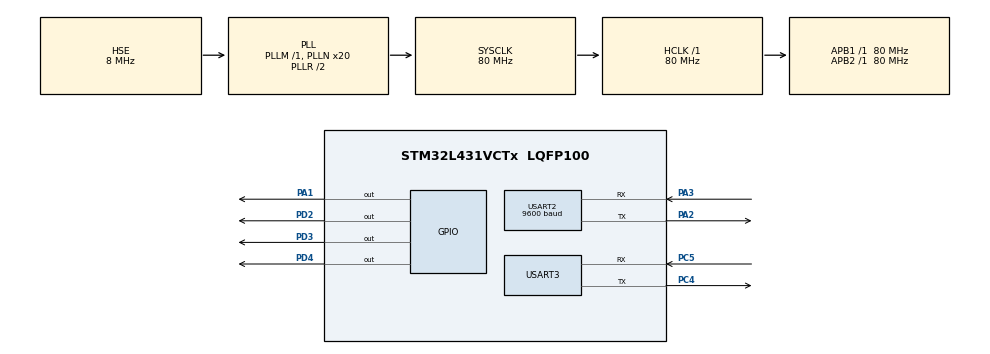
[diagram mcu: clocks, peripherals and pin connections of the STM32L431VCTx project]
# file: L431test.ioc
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Dma.Request0=USART2_RX
Dma.Request1=USART2_TX
Dma.USART2_RX.0.Direction=DMA_PERIPH_TO_MEMORY
Dma.USART2_RX.0.Instance=DMA1_Channel6
Dma.USART2_RX.0.MemDataAlignment=DMA_MDATAALIGN_BYTE
Dma.USART2_RX.0.MemInc=DMA_MINC_ENABLE
Dma.USART2_RX.0.Mode=DMA_NORMAL
Dma.USART2_RX.0.PeriphDataAlignment=DMA_PDATAALIGN_BYTE
Dma.USART2_RX.0.PeriphInc=DMA_PINC_DISABLE
Dma.USART2_RX.0.Priority=DMA_PRIORITY_MEDIUM
Dma.USART2_TX.1.Direction=DMA_MEMORY_TO_PERIPH
Dma.USART2_TX.1.Instance=DMA1_Channel7
Dma.USART2_TX.1.MemDataAlignment=DMA_MDATAALIGN_BYTE
Dma.USART2_TX.1.MemInc=DMA_MINC_ENABLE
Dma.USART2_TX.1.Mode=DMA_NORMAL
Dma.USART2_TX.1.PeriphDataAlignment=DMA_PDATAALIGN_BYTE
Dma.USART2_TX.1.PeriphInc=DMA_PINC_DISABLE
Dma.USART2_TX.1.Priority=DMA_PRIORITY_MEDIUM
Mcu.Family=STM32L4
Mcu.Name=STM32L431VCTx
Mcu.Package=LQFP100
NVIC.DMA1_Channel6_IRQn=true\:0\:0\:false\:false\:true\:false\:true
NVIC.DMA1_Channel7_IRQn=true\:0\:0\:false\:false\:true\:false\:true
NVIC.PriorityGroup=NVIC_PRIORITYGROUP_4
NVIC.USART2_IRQn=true\:0\:0\:false\:false\:true\:true\:true
PA1.Signal=GPIO_Output
PA13\ (JTMS-SWDIO).Mode=Serial_Wire
PA13\ (JTMS-SWDIO).Signal=SYS_JTMS-SWDIO
PA14\ (JTCK-SWCLK).Mode=Serial_Wire
PA14\ (JTCK-SWCLK).Signal=SYS_JTCK-SWCLK
PA2.Mode=Asynchronous
PA2.Signal=USART2_TX
PA3.Mode=Asynchronous
PA3.Signal=USART2_RX
PC4.Mode=Asynchronous
PC4.Signal=USART3_TX
PC5.Mode=Asynchronous
PC5.Signal=USART3_RX
PD2.Signal=GPIO_Output
PD3.Signal=GPIO_Output
PD4.Signal=GPIO_Output
PH0-OSC_IN\ (PH0).Mode=HSE-External-Oscillator
PH0-OSC_IN\ (PH0).Signal=RCC_OSC_IN
PH1-OSC_OUT\ (PH1).Mode=HSE-External-Oscillator
PH1-OSC_OUT\ (PH1).Signal=RCC_OSC_OUT
ProjectManager.HeapSize=0x200
ProjectManager.StackSize=0x400
ProjectManager.TargetToolchain=MDK-ARM V5.27
RCC.ADCFreq_Value=32000000
RCC.AHBFreq_Value=80000000
RCC.APB1Freq_Value=80000000
RCC.APB1TimFreq_Value=80000000
RCC.APB2Freq_Value=80000000
RCC.APB2TimFreq_Value=80000000
RCC.CortexFreq_Value=80000000
RCC.HCLKFreq_Value=80000000
RCC.HSE_VALUE=8000000
RCC.HSI48_VALUE=48000000
RCC.HSI_VALUE=16000000
RCC.LSE_VALUE=32768
RCC.MSI_VALUE=4000000
RCC.PLLN=20
RCC.PLLSourceVirtual=RCC_PLLSOURCE_HSE
RCC.SYSCLKFreq_VALUE=80000000
RCC.SYSCLKSource=RCC_SYSCLKSOURCE_PLLCLK
RCC.VCOOutputFreq_Value=160000000
USART2.BaudRate=9600
USART2.VirtualMode-Asynchronous=VM_ASYNC
USART3.VirtualMode-Asynchronous=VM_ASYNC
board=custom

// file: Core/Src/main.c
/* USER CODE BEGIN Header */
/**
  ******************************************************************************
  * @file           : main.c
  * @brief          : Main program body
  ******************************************************************************
  * @attention
  *
  * <h2><center>&copy; Copyright (c) 2023 STMicroelectronics.
  * All rights reserved.</center></h2>
  *
  * This software component is licensed by ST under BSD 3-Clause license,
  * the "License"; You may not use this file except in compliance with the
  * License. You may obtain a copy of the License at:
  *                        opensource.org/licenses/BSD-3-Clause
  *
  ******************************************************************************
  */
/* USER CODE END Header */
#include "main.h"
#include "stdio.h"
/* USER CODE BEGIN Includes */
#include "string.h"
#include "DHT11.h"
/* USER CODE END Includes */

/* USER CODE BEGIN PTD */
float temp_f;
float humidity_f = 0;
int	num=500;
char D_a[100];               // 拼接字符串
char D_b[100];
const char* Data_Head = "AT+QMTPUB=0,0,0,0,\"mqhome\",";				//发布消息
//{\"temp\":%.2f,\"humi\":%.2f}
const char* Data_t = "{\"temp\":";
const char* Data_h = ",\"humi\":";
const char* Data_tail = "}";
/* USER CODE END PTD */

UART_HandleTypeDef huart2;
UART_HandleTypeDef huart3;
DMA_HandleTypeDef hdma_usart2_rx;
DMA_HandleTypeDef hdma_usart2_tx;

void SystemClock_Config(void);
static void MX_GPIO_Init(void);
static void MX_DMA_Init(void);
static void MX_USART2_UART_Init(void);
static void MX_USART3_UART_Init(void);

/* USER CODE BEGIN 0 */
huart2_rx_struct huart2_rx_struct_t;

/*******************************************************************************
* 名    称：get_temp_Humidity
* 功    能：获取温度函数
* 参数说明：无
* 返 回 值：无
* 说    明：无
* 调用方法：外部函数
*******************************************************************************/
void get_temp_Humidity(void)
{
    float f_buffer_temp = 0;
    float f_buffer_humi = 0;
		HAL_UART_Transmit(&huart3,"hum-temp-data get-------\n",28,20);
    /****************************** code start 3 ******************************/
    if(DHT11_Read_Data(&f_buffer_temp, &f_buffer_humi) == 0)    //读取温湿度值
    {
        if((f_buffer_temp <= 50) && (f_buffer_temp > 0))    //检测温度是否在范围内
        {
            temp_f = f_buffer_temp; //将温度值赋给全局变量temp_f
//					printf("temp_f=%.2f \n",temp_f);
            /*将温度值赋给*HomeView.Temp,用于TFT屏显示*/
//            snprintf(buffer, 5, "%2.1f", temp_f);
//            /*将温度值拷贝到上传华为物联网平台的结构体中，用于上传给华为物联网平台*/
//            memcpy(g_pltSendData.Temperature, HomeView.Temp, 5);
        }
        if((f_buffer_humi <= 100) && (f_buffer_humi > 0))   //获取湿度值，可省略
        {
            humidity_f = f_buffer_humi;
//            snprintf(buffer, 5, "%2.1f", humidity_f);
//					printf("humidity_f=%.2f \n",humidity_f);
        }
    }
    /******************************* code end 3 *******************************/
}

void send_data(void)
{

	  sprintf((char*)D_b,"%s%.2f%s%.2f%s",
												Data_t,temp_f,Data_h,humidity_f,Data_tail);
					//计算数据长度拼接到M_a
		sprintf((char*)D_a,"%s%d\r\n",Data_Head,strlen(D_b));
		printf("D-A=%s",D_a);
		printf("D-B=%s",D_b);
		HAL_UART_Transmit(&huart2, (unsigned char *)D_a, strlen(D_a), 500);
		HAL_Delay(1000);
//		HAL_UART_Transmit(&huart3,"send temp\n",11,20);
//		while(strstr((char *)huart2_rx_struct_t.uart_rx_buf, ">") == NULL) //收到 > 回复开始发送数据
// 		{
//			memset(huart2_rx_struct_t.uart_rx_buf,0x00,100);//清空接收缓冲区数组  //清空接受缓冲区
			HAL_UART_Transmit(&huart2, (unsigned char *)D_b, strlen(D_b), 300);
//		}
//		else{
//		HAL_UART_Transmit(&huart3,"send error\n",11,20);
//		}
		memset(D_a,0x00,100);//清空
		memset(D_b,0x00,100);//清空
}

/* USER CODE END 0 */

int main(void)
{

  /* MCU Configuration--------------------------------------------------------*/

  /* Reset of all peripherals, Initializes the Flash interface and the Systick. */
  HAL_Init();

  /* Configure the system clock */
  SystemClock_Config();

  /* Initialize all configured peripherals */
  MX_GPIO_Init();
	DHT_Init();								//DHT11 初始化
  MX_DMA_Init();
  MX_USART2_UART_Init();
  MX_USART3_UART_Init();
  /* USER CODE BEGIN 2 */
	HAL_UART_Receive_DMA(&huart2,huart2_rx_struct_t.uart_rx_buf, UART_RX_LEN);         // 启动DMA接收
	__HAL_UART_ENABLE_IT(&huart2, UART_IT_IDLE);                                      // 使能空闲中断
	 HAL_GPIO_WritePin(GPIOA, GPIO_PIN_1, GPIO_PIN_RESET);  //引脚写入
	 HAL_UART_Transmit(&huart3,"delay10s\r\n",8,20);
	HAL_Delay(10000);
	memset(huart2_rx_struct_t.uart_rx_buf,0,100);//清空

  /* USER CODE END 2 */

  /* Infinite loop */
  while (1)
  {

    /* USER CODE BEGIN 3 */

				HAL_UART_Transmit(&huart3,"AT+CSQ\r\n",8,20);
//			HAL_Delay(1000);

//			if(strstr((char*)huart2_rx_struct_t.uart_rx_buf,"OPEN")!=NULL)
//				{
//					HAL_UART_Transmit(&huart2,"AT-error\r\n",7,10);
////					HAL_GPIO_WritePin(GPIOC,GPIO_PIN_13,GPIO_PIN_SET);
////					HAL_Delay(1000);
//				}
//				else if(strstr((char*)huart2_rx_struct_t.uart_rx_buf,"CLOSE")!=NULL)
//					{
////									HAL_GPIO_WritePin(GPIOC,GPIO_PIN_13,GPIO_PIN_RESET);
//										HAL_UART_Transmit(&huart2,"AT\r\n",4,10);
////									HAL_Delay(1000);
//
//					}
			memset(huart2_rx_struct_t.uart_rx_buf,0x00,100);//清空
			HAL_Delay(100);
		 HAL_UART_Transmit(&huart2, (unsigned char *)"AT\r\n", 4, 300);
		 HAL_Delay(100);
		 while(strstr((char *)huart2_rx_struct_t.uart_rx_buf, "OK") == NULL)
		 {
			 memset(huart2_rx_struct_t.uart_rx_buf,0x00,100);//清空
		   HAL_Delay(1000);
			  HAL_UART_Transmit(&huart3,"AT-error\r\n",10,10);
			  HAL_UART_Transmit(&huart2, (unsigned char *)"AT\r\n", 4, 300);
				HAL_Delay(100);
				if(strstr((char *)huart2_rx_struct_t.uart_rx_buf, "OK") != NULL)
				{
					break ;
				}
		 }
		 HAL_UART_Transmit(&huart2, (unsigned char *)"AT+CGATT?\r\n", 11, 300);
		  HAL_Delay(100);
		  while(strstr((char *)huart2_rx_struct_t.uart_rx_buf, "CGATT:1") == NULL)
		  {
				HAL_UART_Transmit(&huart3, huart2_rx_struct_t.uart_rx_buf, 20, 300);
				memset(huart2_rx_struct_t.uart_rx_buf,0x00,100);//清空
		     HAL_Delay(4000);
				 HAL_UART_Transmit(&huart3, (unsigned char *)"CGATT\r\n", 7, 300);
				  HAL_UART_Transmit(&huart2, (unsigned char *)"AT+CGATT?\r\n", 11, 300);
						HAL_Delay(1000);
					if(strstr((char *)huart2_rx_struct_t.uart_rx_buf, "CGATT:1") != NULL)
						{
							break ;
						}
		 }

		  HAL_UART_Transmit(&huart2, (unsigned char *)"AT+CEREG?\r\n", 11, 300);
		 HAL_Delay(100);
		  while(strstr((char *)huart2_rx_struct_t.uart_rx_buf, "CEREG,0,1") == NULL)
		  {
				HAL_UART_Transmit(&huart3, huart2_rx_struct_t.uart_rx_buf, 20, 300);
				HAL_Delay(4000);
				memset(huart2_rx_struct_t.uart_rx_buf,0x00,100);//清空接收缓冲区数组
				HAL_Delay(4000);
				HAL_UART_Transmit(&huart3, (unsigned char *)"CEREG\r\n", 6, 300);
				 HAL_UART_Transmit(&huart2, (unsigned char *)"AT+CEREG?\r\n", 11, 300);
				 HAL_Delay(1000);
					if(strstr((char *)huart2_rx_struct_t.uart_rx_buf, "CEREG:0,1") != NULL)
					{
					break ;
					}
			}

		  HAL_UART_Transmit(&huart2, (unsigned char *)"AT+CEDRXS=0,5\r\n", 15, 300);
			HAL_Delay(100);
		  while(strstr((char *)huart2_rx_struct_t.uart_rx_buf, "OK") == NULL)
		  {
				HAL_UART_Transmit(&huart3, huart2_rx_struct_t.uart_rx_buf, 20, 300);
				memset(huart2_rx_struct_t.uart_rx_buf,0x00,100);//清空接收缓冲区数组
		   HAL_Delay(3000);
				 HAL_UART_Transmit(&huart3, (unsigned char *)"CEDRXS\r\n", 11, 300);
				 HAL_UART_Transmit(&huart2, (unsigned char *)"AT+CEDRXS=0,5\r\n", 15, 300);
			if(strstr((char *)huart2_rx_struct_t.uart_rx_buf, "OK") != NULL)
				{
					break ;
				}
		 }

		  HAL_UART_Transmit(&huart2, (unsigned char *)"AT+CPSMS=0\r\n", 12, 300);
		 HAL_Delay(100);
		  while(strstr((char *)huart2_rx_struct_t.uart_rx_buf, "OK") == NULL)
		  {
				HAL_UART_Transmit(&huart3, huart2_rx_struct_t.uart_rx_buf, 20, 300);
				memset(huart2_rx_struct_t.uart_rx_buf,0x00,100);//清空接收缓冲区数组
		   HAL_Delay(4000);
				 HAL_UART_Transmit(&huart3, (unsigned char *)"CPSMS\r\n", 6, 300);
				  HAL_UART_Transmit(&huart2, (unsigned char *)"AT+CPSMS=0\r\n", 12, 300);
			if(strstr((char *)huart2_rx_struct_t.uart_rx_buf, "OK") != NULL)
				{
					break ;
				}
			}

		  HAL_UART_Transmit(&huart2, (unsigned char *)"AT+QMTOPEN=0,\"lbsmqtt.airm2m.com\",1883\r\n", 50, 500);
//			HAL_UART_Transmit(&huart2, (unsigned char *)"AT+QMTOPEN=0,'broker.emqx.io',1883\r\n", 36, 300);
			HAL_Delay(100);
			while(strstr((char *)huart2_rx_struct_t.uart_rx_buf, "+QMTOPEN: 0,0") == NULL)
		  {
				HAL_UART_Transmit(&huart3, huart2_rx_struct_t.uart_rx_buf, 20, 300);
				memset(huart2_rx_struct_t.uart_rx_buf,0x00,100);//清空接收缓冲区数组
		   HAL_Delay(10000);
			 HAL_UART_Transmit(&huart3, (unsigned char *)"QMTOPEN\r\n", 6, 300);
//				   HAL_UART_Transmit(&huart2, (unsigned char *)"AT+QMTOPEN=0,'lbsmqtt.airm2m.com',1883\r\n", 38, 300);
//							HAL_UART_Transmit(&huart2, (unsigned char *)"AT+QMTOPEN=0,'broker.emqx.io',1883\r\n", 36, 300);
			if(strstr((char *)huart2_rx_struct_t.uart_rx_buf, "+QMTOPEN: 0,0") != NULL)
			{
					break ;
			}
		 }

		  HAL_UART_Transmit(&huart2, (unsigned char *)"AT+QMTCONN=0,\"aiot\"\r\n", 22, 300);
		 HAL_Delay(100);
			while(strstr((char *)huart2_rx_struct_t.uart_rx_buf, "+QMTCONN: 0,0,0") == NULL)
		  {
				HAL_UART_Transmit(&huart3, huart2_rx_struct_t.uart_rx_buf, 20, 300);
				memset(huart2_rx_struct_t.uart_rx_buf,0x00,100);//清空接收缓冲区数组
		    HAL_Delay(4000);
				HAL_UART_Transmit(&huart3, (unsigned char *)"QMTCONN\r\n", 12, 300);
//				   HAL_UART_Transmit(&huart2, (unsigned char *)"AT+QMTCONN=0,'ZHOU'\r\n", 19, 300);
			if(strstr((char *)huart2_rx_struct_t.uart_rx_buf, "+QMTCONN: 0,0,0") != NULL)
				{
						break ;
				}
			}

		   HAL_UART_Transmit(&huart2, (unsigned char *)"AT+QMTSUB=0,1,\"LED\",0\r\n", 24, 300);
			HAL_Delay(100);
		while(strstr((char *)huart2_rx_struct_t.uart_rx_buf, "+QMTSUB: 0,1,0,0") == NULL)
		  {
				HAL_UART_Transmit(&huart3, huart2_rx_struct_t.uart_rx_buf, 20, 300);
				memset(huart2_rx_struct_t.uart_rx_buf,0x00,100);//清空接收缓冲区数组
		   HAL_Delay(3000);
				 HAL_UART_Transmit(&huart3, (unsigned char *)"QMTSUB\r\n", 12, 300);
//				   HAL_UART_Transmit(&huart2, (unsigned char *)"AT+QMTSUB=0,1,'LED',0\r\n", 19, 300);
			if(strstr((char *)huart2_rx_struct_t.uart_rx_buf, "+QMTSUB: 0,1,0,0") != NULL)
			{
					break ;
			}
		}

		while(1)
		{
			while(num--)
			{
				if(strstr((char *)huart2_rx_struct_t.uart_rx_buf, "inled:1") != NULL)
					{
						HAL_GPIO_WritePin(GPIOD, GPIO_PIN_2|GPIO_PIN_3|GPIO_PIN_4, GPIO_PIN_RESET);
						HAL_Delay(10);
//						HAL_UART_Transmit(&huart3, huart2_rx_struct_t.uart_rx_buf, 20, 300);
//						HAL_Delay(15);
						printf("---------LED-OPEN--------\r\n");
						memset(huart2_rx_struct_t.uart_rx_buf,0x00,100);//清空接收缓冲区数组
					}
					else if(strstr((char *)huart2_rx_struct_t.uart_rx_buf, "inled:0") != NULL)
					{
						HAL_GPIO_WritePin(GPIOD, GPIO_PIN_2|GPIO_PIN_3|GPIO_PIN_4, GPIO_PIN_SET);
						HAL_Delay(10);
//						HAL_UART_Transmit(&huart3, huart2_rx_struct_t.uart_rx_buf, 20, 300);
//						HAL_Delay(15);
						printf("---------LED-CLOSE--------\r\n");
						memset(huart2_rx_struct_t.uart_rx_buf,0x00,100);//清空接收缓冲区数组
					}
				HAL_Delay(10);
			}
			num=500;
				 get_temp_Humidity();
				send_data();
		}

//		   HAL_UART_Transmit(&huart2, (unsigned char *)"AT+QMTPUB=0,0,0,0,\"LED\",5\r\n", 19, 300);
////		HAL_UART_Transmit(&huart2, (unsigned char *)"ABCDE\r\n", 7, 300);
//		while(strstr((char *)huart2_rx_struct_t.uart_rx_buf, "+QMTPUB:0,0,0") == NULL)
//		  {
//		   HAL_Delay(10000);
//				 HAL_UART_Transmit(&huart3, (unsigned char *)"+QMTPUB=0,0,0,0\r\n", 17, 300);
//				   HAL_UART_Transmit(&huart2, (unsigned char *)"AT+QMTPUB=0,0,0,0,'LED',5\r\n", 19, 300);
//					HAL_UART_Transmit(&huart3, (unsigned char *)"ABCDE\r\n", 7, 300);
//			if(strstr((char *)huart2_rx_struct_t.uart_rx_buf, "+QMTPUB:0,0,0") != NULL)
//				{
//					break ;
//				}
//			}

  }
  /* USER CODE END 3 */
}

/*******************************************************************************
* 名    称：fputc
* 功    能：支持printf输出函数
* 参数说明：无
* 返 回 值：无
* 说    明：无
* 调用方法：内部函数
********************************************************************************/
int fputc(int ch, FILE *f)
{
    HAL_UART_Transmit(&huart3, (uint8_t *)&ch, 1, 0xFFFF);         //串口3发送函数
    return ch;
}

void SystemClock_Config(void)
{
  RCC_OscInitTypeDef RCC_OscInitStruct = {0};
  RCC_ClkInitTypeDef RCC_ClkInitStruct = {0};
  RCC_PeriphCLKInitTypeDef PeriphClkInit = {0};

  /** Initializes the RCC Oscillators according to the specified parameters
  * in the RCC_OscInitTypeDef structure.
  */
  RCC_OscInitStruct.OscillatorType = RCC_OSCILLATORTYPE_HSE;
  RCC_OscInitStruct.HSEState = RCC_HSE_ON;
  RCC_OscInitStruct.PLL.PLLState = RCC_PLL_ON;
  RCC_OscInitStruct.PLL.PLLSource = RCC_PLLSOURCE_HSE;
  RCC_OscInitStruct.PLL.PLLM = 1;
  RCC_OscInitStruct.PLL.PLLN = 20;
  RCC_OscInitStruct.PLL.PLLP = RCC_PLLP_DIV7;
  RCC_OscInitStruct.PLL.PLLQ = RCC_PLLQ_DIV2;
  RCC_OscInitStruct.PLL.PLLR = RCC_PLLR_DIV2;
  if (HAL_RCC_OscConfig(&RCC_OscInitStruct) != HAL_OK)
  {
    Error_Handler();
  }
  /** Initializes the CPU, AHB and APB buses clocks
  */
  RCC_ClkInitStruct.ClockType = RCC_CLOCKTYPE_HCLK|RCC_CLOCKTYPE_SYSCLK
                              |RCC_CLOCKTYPE_PCLK1|RCC_CLOCKTYPE_PCLK2;
  RCC_ClkInitStruct.SYSCLKSource = RCC_SYSCLKSOURCE_PLLCLK;
  RCC_ClkInitStruct.AHBCLKDivider = RCC_SYSCLK_DIV1;
  RCC_ClkInitStruct.APB1CLKDivider = RCC_HCLK_DIV1;
  RCC_ClkInitStruct.APB2CLKDivider = RCC_HCLK_DIV1;

  if (HAL_RCC_ClockConfig(&RCC_ClkInitStruct, FLASH_LATENCY_4) != HAL_OK)
  {
    Error_Handler();
  }
  PeriphClkInit.PeriphClockSelection = RCC_PERIPHCLK_USART2|RCC_PERIPHCLK_USART3;
  PeriphClkInit.Usart2ClockSelection = RCC_USART2CLKSOURCE_PCLK1;
  PeriphClkInit.Usart3ClockSelection = RCC_USART3CLKSOURCE_PCLK1;
  if (HAL_RCCEx_PeriphCLKConfig(&PeriphClkInit) != HAL_OK)
  {
    Error_Handler();
  }
  /** Configure the main internal regulator output voltage
  */
  if (HAL_PWREx_ControlVoltageScaling(PWR_REGULATOR_VOLTAGE_SCALE1) != HAL_OK)
  {
    Error_Handler();
  }
}

static void MX_USART2_UART_Init(void)
{

  huart2.Instance = USART2;
  huart2.Init.BaudRate = 115200;
  huart2.Init.WordLength = UART_WORDLENGTH_8B;
  huart2.Init.StopBits = UART_STOPBITS_1;
  huart2.Init.Parity = UART_PARITY_NONE;
  huart2.Init.Mode = UART_MODE_TX_RX;
  huart2.Init.HwFlowCtl = UART_HWCONTROL_NONE;
  huart2.Init.OverSampling = UART_OVERSAMPLING_16;
  huart2.Init.OneBitSampling = UART_ONE_BIT_SAMPLE_DISABLE;
  huart2.AdvancedInit.AdvFeatureInit = UART_ADVFEATURE_NO_INIT;
  if (HAL_UART_Init(&huart2) != HAL_OK)
  {
    Error_Handler();
  }

}

static void MX_USART3_UART_Init(void)
{

  huart3.Instance = USART3;
  huart3.Init.BaudRate = 115200;
  huart3.Init.WordLength = UART_WORDLENGTH_8B;
  huart3.Init.StopBits = UART_STOPBITS_1;
  huart3.Init.Parity = UART_PARITY_NONE;
  huart3.Init.Mode = UART_MODE_TX_RX;
  huart3.Init.HwFlowCtl = UART_HWCONTROL_NONE;
  huart3.Init.OverSampling = UART_OVERSAMPLING_16;
  huart3.Init.OneBitSampling = UART_ONE_BIT_SAMPLE_DISABLE;
  huart3.AdvancedInit.AdvFeatureInit = UART_ADVFEATURE_NO_INIT;
  if (HAL_UART_Init(&huart3) != HAL_OK)
  {
    Error_Handler();
  }

}

static void MX_DMA_Init(void)
{

  /* DMA controller clock enable */
  __HAL_RCC_DMA1_CLK_ENABLE();

  /* DMA interrupt init */
  /* DMA1_Channel6_IRQn interrupt configuration */
  HAL_NVIC_SetPriority(DMA1_Channel6_IRQn, 0, 0);
  HAL_NVIC_EnableIRQ(DMA1_Channel6_IRQn);
  /* DMA1_Channel7_IRQn interrupt configuration */
  HAL_NVIC_SetPriority(DMA1_Channel7_IRQn, 0, 0);
  HAL_NVIC_EnableIRQ(DMA1_Channel7_IRQn);

}

static void MX_GPIO_Init(void)
{
  GPIO_InitTypeDef GPIO_InitStruct = {0};

  /* GPIO Ports Clock Enable */
  __HAL_RCC_GPIOH_CLK_ENABLE();
  __HAL_RCC_GPIOA_CLK_ENABLE();
  __HAL_RCC_GPIOC_CLK_ENABLE();
  __HAL_RCC_GPIOD_CLK_ENABLE();

  /*Configure GPIO pin Output Level */
  HAL_GPIO_WritePin(GPIOA, GPIO_PIN_1, GPIO_PIN_RESET);

  /*Configure GPIO pin Output Level */
  HAL_GPIO_WritePin(GPIOD, GPIO_PIN_2|GPIO_PIN_3|GPIO_PIN_4, GPIO_PIN_SET);

  /*Configure GPIO pin : PA1 */
  GPIO_InitStruct.Pin = GPIO_PIN_1;
  GPIO_InitStruct.Mode = GPIO_MODE_OUTPUT_PP;
  GPIO_InitStruct.Pull = GPIO_PULLUP;
  GPIO_InitStruct.Speed = GPIO_SPEED_FREQ_LOW;
  HAL_GPIO_Init(GPIOA, &GPIO_InitStruct);

  /*Configure GPIO pins : PD2 PD3 PD4 */
  GPIO_InitStruct.Pin = GPIO_PIN_2|GPIO_PIN_3|GPIO_PIN_4;
  GPIO_InitStruct.Mode = GPIO_MODE_OUTPUT_PP;
  GPIO_InitStruct.Pull = GPIO_PULLUP;
  GPIO_InitStruct.Speed = GPIO_SPEED_FREQ_LOW;
  HAL_GPIO_Init(GPIOD, &GPIO_InitStruct);

}

void Error_Handler(void)
{
}

/************************ (C) COPYRIGHT STMicroelectronics *****END OF FILE****/
